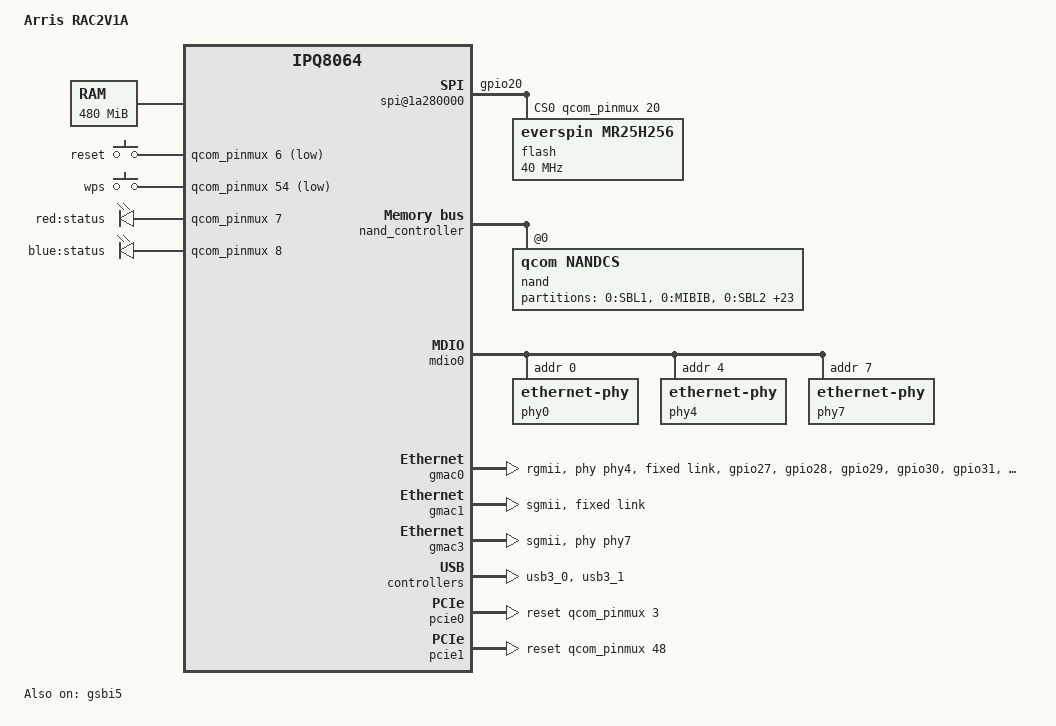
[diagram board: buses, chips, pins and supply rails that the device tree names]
// SPDX-License-Identifier: GPL-2.0-or-later

#include "qcom-ipq8065.dtsi"
#include <dt-bindings/input/input.h>

/ {
	model = "Arris RAC2V1A";
	compatible = "arris,rac2v1a", "qcom,ipq8065", "qcom,ipq8064";

	memory@0 {
		reg = <0x42000000 0x1e000000>;
		device_type = "memory";
	};

	aliases {
		led-boot = &led_status_blue;
		led-failsafe = &led_status_red;
		led-running = &led_status_blue;
		led-upgrade = &led_status_red;
	};

	chosen {
		bootargs = "rootfstype=squashfs noinitrd";
	};

	keys {
		compatible = "gpio-keys";
		pinctrl-0 = <&button_pins>;
		pinctrl-names = "default";

		reset {
			label = "reset";
			gpios = <&qcom_pinmux 6 GPIO_ACTIVE_LOW>;
			linux,code = <KEY_RESTART>;
			debounce-interval = <60>;
			wakeup-source;
		};

		wps {
			label = "wps";
			gpios = <&qcom_pinmux 54 GPIO_ACTIVE_LOW>;
			linux,code = <KEY_WPS_BUTTON>;
			debounce-interval = <60>;
			wakeup-source;
		};
	};

	leds {
		compatible = "gpio-leds";
		pinctrl-0 = <&led_pins>;
		pinctrl-names = "default";

		led_status_red: status_red {
			label = "red:status";
			gpios = <&qcom_pinmux 7 GPIO_ACTIVE_HIGH>;
		};

		led_status_blue: status_blue {
			label = "blue:status";
			gpios = <&qcom_pinmux 8 GPIO_ACTIVE_HIGH>;
		};
	};
};

&qcom_pinmux {
	button_pins: button_pins {
		mux {
			pins = "gpio6", "gpio54";
			function = "gpio";
			drive-strength = <2>;
			bias-pull-up;
		};
	};

	led_pins: led_pins {
		mux {
			pins = "gpio7", "gpio8";
			function = "gpio";
			drive-strength = <2>;
			bias-pull-down;
		};
	};

	rgmii2_pins: rgmii2_pins {
		tx {
			pins = "gpio27", "gpio28", "gpio29", "gpio30", "gpio31", "gpio32";
			input-disable;
		};
	};

	spi_pins: spi_pins {
		cs {
			pins = "gpio20";
			drive-strength = <12>;
		};
	};
};

&gsbi5 {
	qcom,mode = <GSBI_PROT_SPI>;
	status = "okay";

	spi@1a280000 {
		status = "okay";

		pinctrl-0 = <&spi_pins>;
		pinctrl-names = "default";

		cs-gpios = <&qcom_pinmux 20 GPIO_ACTIVE_HIGH>;

		flash@0 {
			compatible = "everspin,mr25h256";
			#address-cells = <1>;
			#size-cells = <1>;
			spi-max-frequency = <40000000>;
			reg = <0>;
		};
	};
};

&nand_controller {
	status = "okay";

	pinctrl-0 = <&nand_pins>;
	pinctrl-names = "default";

	nand@0 {
		reg = <0>;
		compatible = "qcom,nandcs";

		nand-ecc-strength = <4>;
		nand-bus-width = <8>;
		nand-ecc-step-size = <512>;

		partitions {
			compatible = "fixed-partitions";
			#address-cells = <1>;
			#size-cells = <1>;

			partition@0 {
				label = "0:SBL1";
				reg = <0x0000000 0x0040000>;
				read-only;
			};
			partition@40000 {
				label = "0:MIBIB";
				reg = <0x0040000 0x0140000>;
				read-only;
			};
			partition@180000 {
				label = "0:SBL2";
				reg = <0x0180000 0x0140000>;
				read-only;
			};
			partition@2c0000 {
				label = "0:SBL3";
				reg = <0x02c0000 0x0280000>;
				read-only;
			};
			partition@540000 {
				label = "0:DDRCONFIG";
				reg = <0x0540000 0x0120000>;
				read-only;
			};
			partition@660000 {
				label = "0:SSD";
				reg = <0x0660000 0x0120000>;
				read-only;
			};
			partition@780000 {
				label = "0:TZ";
				reg = <0x0780000 0x0280000>;
				read-only;
			};
			partition@a00000 {
				label = "0:RPM";
				reg = <0x0a00000 0x0280000>;
				read-only;
			};
			partition@c80000 {
				label = "0:APPSBL";
				reg = <0x0c80000 0x0500000>;
				read-only;
			};
			partition@1180000 {
				label = "0:APPSBLENV";
				reg = <0x1180000 0x0080000>;
			};
			partition@1200000 {
				label = "0:ART";
				reg = <0x1200000 0x0140000>;
				read-only;
			};
			partition@1340000 {
				label = "rootfs_1";
				reg = <0x1340000 0x4000000>;
			};
			partition@5340000 {
				label = "0:BOOTCONFIG";
				reg = <0x5340000 0x0060000>;
				read-only;
			};
			partition@53a0000 {
				label = "0:SBL2_1";
				reg = <0x53a0000 0x0140000>;
				read-only;
			};
			partition@54e0000 {
				label = "0:SBL3_1";
				reg = <0x54e0000 0x0280000>;
				read-only;
			};
			partition@5760000 {
				label = "0:DDRCONFIG_1";
				reg = <0x5760000 0x0120000>;
				read-only;
			};
			partition@5880000 {
				label = "0:SSD_1";
				reg = <0x5880000 0x0120000>;
				read-only;
			};
			partition@59a0000 {
				label = "0:TZ_1";
				reg = <0x59a0000 0x0280000>;
				read-only;
			};
			partition@5c20000 {
				label = "0:RPM_1";
				reg = <0x5c20000 0x0280000>;
				read-only;
			};
			partition@5ea0000 {
				label = "0:BOOTCONFIG1";
				reg = <0x5ea0000 0x0060000>;
				read-only;
			};
			partition@5f00000 {
				label = "0:APPSBL_1";
				reg = <0x5f00000 0x0500000>;
				read-only;
			};
			partition@6400000 {
				label = "ubi";
				reg = <0x6400000 0x4000000>;
			};
			fw_env: partition@a400000 {
				label = "fw_env";
				reg = <0xa400000 0x0100000>;
				read-only;
			};
			partition@a500000 {
				label = "config";
				reg = <0xa500000 0x0800000>;
				read-only;
			};
			partition@ad00000 {
				label = "PKI";
				reg = <0xad00000 0x0200000>;
				read-only;
			};
			partition@af00000 {
				label = "scfgmgr";
				reg = <0xaf00000 0x0100000>;
				read-only;
			};
		};
	};
};

&mdio0 {
	status = "okay";

	pinctrl-0 = <&mdio0_pins>;
	pinctrl-names = "default";

	phy0: ethernet-phy@0 {
		reg = <0x0>;
		qca,ar8327-initvals = <
			0x00004 0x7600000   /* PAD0_MODE */
			0x00008 0x1000000   /* PAD5_MODE */
			0x0000c 0x80        /* PAD6_MODE */
			0x000e4 0xaa545     /* MAC_POWER_SEL */
			0x000e0 0xc74164de  /* SGMII_CTRL */
			0x0007c 0x4e        /* PORT0_STATUS */
			0x00094 0x4e        /* PORT6_STATUS */
			>;
	};

	phy4: ethernet-phy@4 {
		reg = <4>;
	};

	phy7: ethernet-phy@7 {
		reg = <7>;
	};
};

&gmac0 {
	status = "okay";
	phy-mode = "rgmii";
	qcom,id = <0>;
	phy-handle = <&phy4>;

	pinctrl-0 = <&rgmii2_pins>;
	pinctrl-names = "default";

	mtd-mac-address = <&fw_env 0x18>;

	fixed-link {
		speed = <1000>;
		full-duplex;
	};
};

&gmac1 {
	status = "okay";
	phy-mode = "sgmii";
	qcom,id = <1>;

	mtd-mac-address = <&fw_env 0x0>;

	fixed-link {
		speed = <1000>;
		full-duplex;
	};
};

&gmac3 {
	status = "okay";
	phy-mode = "sgmii";
	qcom,id = <3>;
	phy-handle = <&phy7>;

	mtd-mac-address = <&fw_env 0x6>;
};

&adm_dma {
	status = "okay";
};

&usb3_0 {
	status = "okay";
	clocks = <&gcc USB30_1_MASTER_CLK>;
};

&usb3_1 {
	status = "okay";
	clocks = <&gcc USB30_0_MASTER_CLK>;
};

&pcie0 {
	status = "okay";
	reset-gpio = <&qcom_pinmux 3 GPIO_ACTIVE_HIGH>;
	pinctrl-0 = <&pcie0_pins>;
	pinctrl-names = "default";
};

&pcie1 {
	status = "okay";
	reset-gpio = <&qcom_pinmux 48 GPIO_ACTIVE_HIGH>;
	pinctrl-0 = <&pcie1_pins>;
	pinctrl-names = "default";
	max-link-speed = <1>;
};
